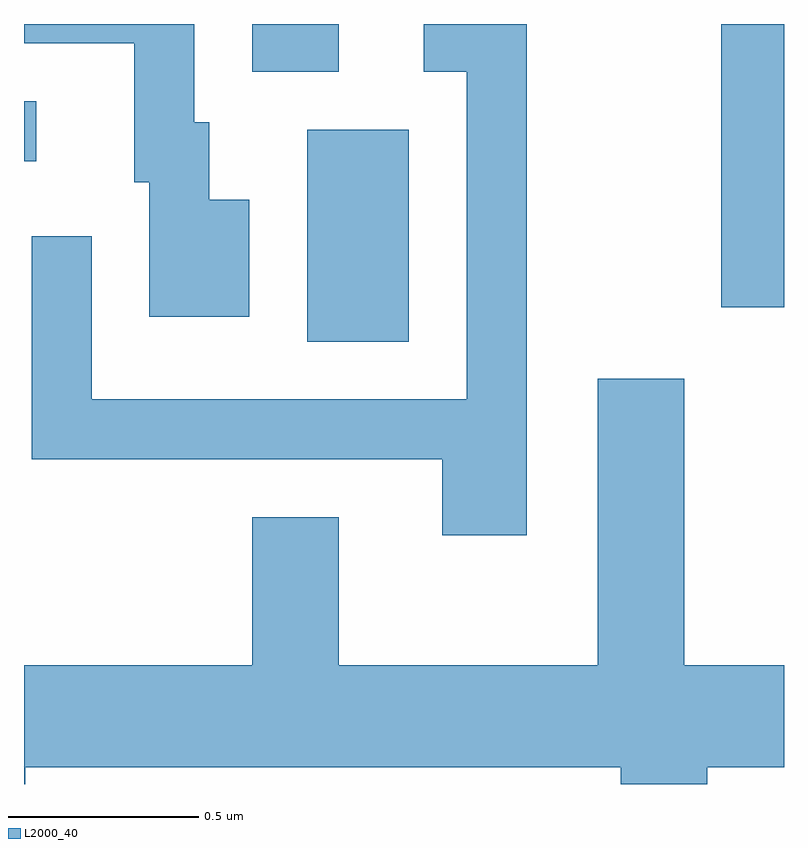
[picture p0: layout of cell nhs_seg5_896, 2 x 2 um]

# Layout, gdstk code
import gdstk
lib = gdstk.Library(unit=1e-6, precision=1e-09)
def R(c, l, rs):  # rectangles x0, y0, x1, y1
    for r in rs: c.add(gdstk.rectangle(r[:2], r[2:], *l))
def P(c, l, *ps):  # polygons
    for p in ps: c.add(gdstk.Polygon(p, *l))
L2000_40 = (2000, 40)

nhs_seg5_896 = lib.new_cell('nhs_seg5_896')
R(nhs_seg5_896, L2000_40, [(192.356,1471.236,192.624,1471.794), (193.446,1471.326,193.611,1472.072), (191.611,1471.711,191.643,1471.869), (192.211,1471.946,192.439,1472.072)])
P(nhs_seg5_896, L2000_40, [(192.204,1471.609),(192.099,1471.609),(192.099,1471.814),(192.059,1471.814),(192.059,1472.072),(191.611,1472.072),(191.611,1472.021),(191.901,1472.021),(191.901,1471.656),(191.941,1471.656),(191.941,1471.301),(192.204,1471.301)],
  [(192.934,1472.072),(192.663,1472.072),(192.663,1471.946),(192.776,1471.946),(192.776,1471.084),(191.789,1471.084),(191.789,1471.513),(191.631,1471.513),(191.631,1470.926),(192.711,1470.926),(192.711,1470.726),(192.934,1470.726)],
  [(191.614,1470.116),(193.181,1470.116),(193.181,1470.072),(193.409,1470.072),(193.409,1470.116),(193.611,1470.116),(193.611,1470.384),(193.349,1470.384),(193.349,1471.139),(193.121,1471.139),(193.121,1470.384),(192.439,1470.384),(192.439,1470.774),(192.211,1470.774),(192.211,1470.384),(191.611,1470.384),(191.611,1470.072),(191.614,1470.072)])

lib.write_gds('nhs_seg5_896.gds')
